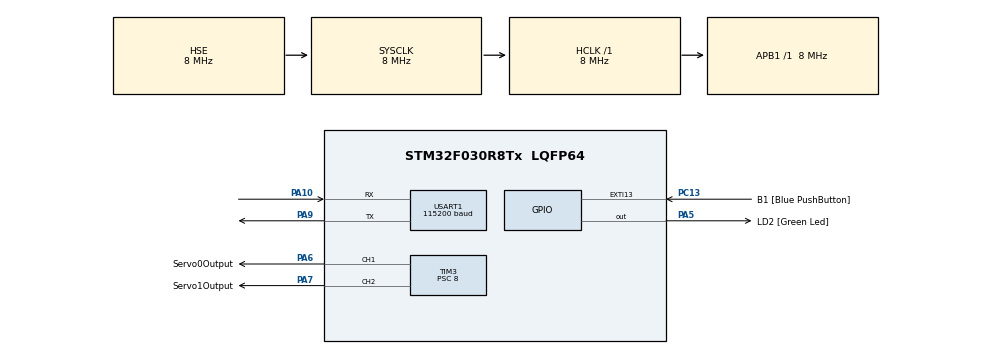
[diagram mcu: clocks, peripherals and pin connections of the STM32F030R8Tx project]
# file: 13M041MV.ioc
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Mcu.Family=STM32F0
Mcu.Name=STM32F030R8Tx
Mcu.Package=LQFP64
NVIC.USART1_IRQn=true\:0\:0\:false\:false\:true\:true\:true
PA10.Mode=Asynchronous
PA10.Signal=USART1_RX
PA13.GPIO_Label=TMS
PA13.Signal=SYS_SWDIO
PA14.GPIO_Label=TCK
PA14.Signal=SYS_SWCLK
PA2.GPIO_Label=USART_TX
PA2.GPIO_Mode=GPIO_MODE_AF_PP
PA2.GPIO_PuPd=GPIO_NOPULL
PA2.GPIO_Speed=GPIO_SPEED_FREQ_LOW
PA2.Signal=USART2_TX
PA3.GPIO_Label=USART_RX
PA3.GPIO_Mode=GPIO_MODE_AF_PP
PA3.GPIO_PuPd=GPIO_NOPULL
PA3.GPIO_Speed=GPIO_SPEED_FREQ_LOW
PA3.Signal=USART2_RX
PA5.GPIO_Label=LD2 [Green Led]
PA5.GPIO_Mode=GPIO_MODE_OUTPUT_PP
PA5.GPIO_PuPd=GPIO_NOPULL
PA5.GPIO_Speed=GPIO_SPEED_FREQ_LOW
PA5.Signal=GPIO_Output
PA6.GPIO_Label=Servo0Output
PA6.GPIO_Speed=GPIO_SPEED_FREQ_HIGH
PA6.Signal=S_TIM3_CH1
PA7.GPIO_Label=Servo1Output
PA7.GPIO_Speed=GPIO_SPEED_FREQ_HIGH
PA7.Signal=S_TIM3_CH2
PA9.Mode=Asynchronous
PA9.Signal=USART1_TX
PB9.GPIO_FM9=__NULL
PB9.GPIO_Label=Servo1Output
PB9.GPIO_Speed=GPIO_SPEED_FREQ_HIGH
PB9.Signal=S_TIM17_CH1
PC13.GPIO_Label=B1 [Blue PushButton]
PC13.GPIO_ModeDefaultEXTI=GPIO_MODE_IT_FALLING
PC13.Signal=GPXTI13
PC14-OSC32_IN.Signal=RCC_OSC32_IN
PC15-OSC32_OUT.Signal=RCC_OSC32_OUT
PF0-OSC_IN.Mode=HSE-External-Oscillator
PF0-OSC_IN.Signal=RCC_OSC_IN
PF1-OSC_OUT.Mode=HSE-External-Oscillator
PF1-OSC_OUT.Signal=RCC_OSC_OUT
ProjectManager.HeapSize=0x200
ProjectManager.StackSize=0x400
ProjectManager.TargetToolchain=MDK-ARM V5
RCC.AHBFreq_Value=8000000
RCC.APB1Freq_Value=8000000
RCC.APB1TimFreq_Value=8000000
RCC.HCLKFreq_Value=8000000
RCC.PLLSourceVirtual=RCC_PLLSOURCE_HSE
RCC.SYSCLKFreq_VALUE=8000000
RCC.SYSCLKSource=RCC_SYSCLKSOURCE_HSE
RCC.Usart1ClockSelection=RCC_USART1CLKSOURCE_HSI
SH.S_TIM17_CH1.0=TIM17_CH1
SH.S_TIM3_CH1.0=TIM3_CH1,PWM Generation1 CH1
SH.S_TIM3_CH2.0=TIM3_CH2,PWM Generation2 CH2
TIM3.Channel-PWM\ Generation1\ CH1=TIM_CHANNEL_1
TIM3.Channel-PWM\ Generation2\ CH2=TIM_CHANNEL_2
TIM3.OCFastMode_PWM-PWM\ Generation1\ CH1=TIM_OCFAST_DISABLE
TIM3.OCFastMode_PWM-PWM\ Generation2\ CH2=TIM_OCFAST_DISABLE
TIM3.OCMode_PWM-PWM\ Generation1\ CH1=TIM_OCMODE_PWM1
TIM3.OCMode_PWM-PWM\ Generation2\ CH2=TIM_OCMODE_PWM1
TIM3.OCPolarity_1=TIM_OCPOLARITY_HIGH
TIM3.OCPolarity_2=TIM_OCPOLARITY_HIGH
TIM3.Period=4000
TIM3.Prescaler=8
TIM3.Pulse-PWM\ Generation1\ CH1=1320
TIM3.Pulse-PWM\ Generation2\ CH2=1420
TIM3.TIM_MasterOutputTrigger=TIM_TRGO_RESET
USART1.BaudRate=115200
USART1.VirtualMode-Asynchronous=VM_ASYNC
VP_TIM3_VS_ClockSourceINT.Mode=Internal
board=NUCLEO-F030R8

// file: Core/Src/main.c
/* USER CODE BEGIN Header */
/**
  ******************************************************************************
  * @file           : main.c
  * @brief          : Main program body
  ******************************************************************************
  * @attention
  *
  * <h2><center>&copy; Copyright (c) 2020 STMicroelectronics.
  * All rights reserved.</center></h2>
  *
  * This software component is licensed by ST under BSD 3-Clause license,
  * the "License"; You may not use this file except in compliance with the
  * License. You may obtain a copy of the License at:
  *                        opensource.org/licenses/BSD-3-Clause
  *
  ******************************************************************************
  */
/* USER CODE END Header */

#include "main.h"

/* USER CODE BEGIN Includes */
#include <string.h>
#include <stdlib.h>
#include <stdbool.h>
/* USER CODE END Includes */

/* USER CODE BEGIN PD */
void pc_uart_rx(uint8_t rx_count);
/* USER CODE END PD */

TIM_HandleTypeDef htim3;

UART_HandleTypeDef huart1;

/* USER CODE BEGIN PV */
char rx_buffer[32];
volatile uint8_t last_read = 0;
volatile uint8_t next_free = 0;
volatile bool command_ready = false;
/* USER CODE END PV */

void SystemClock_Config(void);
static void MX_GPIO_Init(void);
static void MX_TIM3_Init(void);
static void MX_USART1_UART_Init(void);

/* USER CODE BEGIN 0 */

void HAL_UART_RxCpltCallback(UART_HandleTypeDef *huart)
{
	if (next_free<32)
	{
		rx_buffer[next_free++] = huart->Instance->RDR;
		if(rx_buffer[next_free-1] == '}')
		{
			command_ready = true;
			return;
		}
		if(rx_buffer[next_free-1] == '{')
		{
			rx_buffer[0] = '{';
			next_free = 1;
			last_read = 0;
		}
	}
	pc_uart_rx(1);
}

void pc_uart_rx(uint8_t rx_count)
{
	HAL_UART_Receive_IT(&huart1, &rx_buffer[next_free], rx_count);
}

bool process_rx_data(uint16_t* pulse_x, uint16_t* pulse_y)
{
	bool retval = false;

	if(rx_buffer[next_free-1] != '}' ||
			rx_buffer[last_read] != '{')
	{
		return retval;
	}

	int x,y;

	if (sscanf(&rx_buffer[last_read], "{%d,%d}", &x, &y) == 2)
	{
		*pulse_x = (uint16_t) x;
		*pulse_y = (uint16_t) y;
		retval = true;
	}

	last_read = 0;
	next_free = 0;
	rx_buffer[0] = 0;
	command_ready = false;

	pc_uart_rx(1);

	return retval;

}
/* USER CODE END 0 */

int main(void)
{
  /* USER CODE BEGIN 1 */
	uint16_t pulse_width_x = 1320,  pulse_width_y = 1420;
  /* USER CODE END 1 */

  /* MCU Configuration--------------------------------------------------------*/

  /* Reset of all peripherals, Initializes the Flash interface and the Systick. */
  HAL_Init();

  /* Configure the system clock */
  SystemClock_Config();

  /* Initialize all configured peripherals */
  MX_GPIO_Init();
  MX_TIM3_Init();
  MX_USART1_UART_Init();
  /* USER CODE BEGIN 2 */
	pc_uart_rx(1);
	HAL_TIM_PWM_Start(&htim3, TIM_CHANNEL_1);
	HAL_TIM_PWM_Start(&htim3, TIM_CHANNEL_2);
  /* USER CODE END 2 */

  /* Infinite loop */
  /* USER CODE BEGIN WHILE */
  while (1)
  {
		if (command_ready == true)
		{
			if (process_rx_data(&pulse_width_x, &pulse_width_y) == true)
			{
				htim3.Instance->CCR1 = pulse_width_x;
				htim3.Instance->CCR2 = pulse_width_y;
			}
		}
    /* USER CODE END WHILE */

  }
}

void SystemClock_Config(void)
{
  RCC_OscInitTypeDef RCC_OscInitStruct = {0};
  RCC_ClkInitTypeDef RCC_ClkInitStruct = {0};
  RCC_PeriphCLKInitTypeDef PeriphClkInit = {0};

  /** Initializes the CPU, AHB and APB busses clocks
  */
  RCC_OscInitStruct.OscillatorType = RCC_OSCILLATORTYPE_HSI|RCC_OSCILLATORTYPE_HSE;
  RCC_OscInitStruct.HSEState = RCC_HSE_ON;
  RCC_OscInitStruct.HSIState = RCC_HSI_ON;
  RCC_OscInitStruct.HSICalibrationValue = RCC_HSICALIBRATION_DEFAULT;
  RCC_OscInitStruct.PLL.PLLState = RCC_PLL_NONE;
  if (HAL_RCC_OscConfig(&RCC_OscInitStruct) != HAL_OK)
  {
    Error_Handler();
  }
  /** Initializes the CPU, AHB and APB busses clocks
  */
  RCC_ClkInitStruct.ClockType = RCC_CLOCKTYPE_HCLK|RCC_CLOCKTYPE_SYSCLK
                              |RCC_CLOCKTYPE_PCLK1;
  RCC_ClkInitStruct.SYSCLKSource = RCC_SYSCLKSOURCE_HSE;
  RCC_ClkInitStruct.AHBCLKDivider = RCC_SYSCLK_DIV1;
  RCC_ClkInitStruct.APB1CLKDivider = RCC_HCLK_DIV1;

  if (HAL_RCC_ClockConfig(&RCC_ClkInitStruct, FLASH_LATENCY_0) != HAL_OK)
  {
    Error_Handler();
  }
  PeriphClkInit.PeriphClockSelection = RCC_PERIPHCLK_USART1;
  PeriphClkInit.Usart1ClockSelection = RCC_USART1CLKSOURCE_HSI;
  if (HAL_RCCEx_PeriphCLKConfig(&PeriphClkInit) != HAL_OK)
  {
    Error_Handler();
  }
}

static void MX_TIM3_Init(void)
{

  TIM_ClockConfigTypeDef sClockSourceConfig = {0};
  TIM_MasterConfigTypeDef sMasterConfig = {0};
  TIM_OC_InitTypeDef sConfigOC = {0};

  htim3.Instance = TIM3;
  htim3.Init.Prescaler = 8;
  htim3.Init.CounterMode = TIM_COUNTERMODE_UP;
  htim3.Init.Period = 4000;
  htim3.Init.ClockDivision = TIM_CLOCKDIVISION_DIV1;
  htim3.Init.AutoReloadPreload = TIM_AUTORELOAD_PRELOAD_DISABLE;
  if (HAL_TIM_Base_Init(&htim3) != HAL_OK)
  {
    Error_Handler();
  }
  sClockSourceConfig.ClockSource = TIM_CLOCKSOURCE_INTERNAL;
  if (HAL_TIM_ConfigClockSource(&htim3, &sClockSourceConfig) != HAL_OK)
  {
    Error_Handler();
  }
  if (HAL_TIM_PWM_Init(&htim3) != HAL_OK)
  {
    Error_Handler();
  }
  sMasterConfig.MasterOutputTrigger = TIM_TRGO_RESET;
  sMasterConfig.MasterSlaveMode = TIM_MASTERSLAVEMODE_DISABLE;
  if (HAL_TIMEx_MasterConfigSynchronization(&htim3, &sMasterConfig) != HAL_OK)
  {
    Error_Handler();
  }
  sConfigOC.OCMode = TIM_OCMODE_PWM1;
  sConfigOC.Pulse = 1320;
  sConfigOC.OCPolarity = TIM_OCPOLARITY_HIGH;
  sConfigOC.OCFastMode = TIM_OCFAST_DISABLE;
  if (HAL_TIM_PWM_ConfigChannel(&htim3, &sConfigOC, TIM_CHANNEL_1) != HAL_OK)
  {
    Error_Handler();
  }
  sConfigOC.Pulse = 1420;
  if (HAL_TIM_PWM_ConfigChannel(&htim3, &sConfigOC, TIM_CHANNEL_2) != HAL_OK)
  {
    Error_Handler();
  }
  HAL_TIM_MspPostInit(&htim3);

}

static void MX_USART1_UART_Init(void)
{

  huart1.Instance = USART1;
  huart1.Init.BaudRate = 115200;
  huart1.Init.WordLength = UART_WORDLENGTH_8B;
  huart1.Init.StopBits = UART_STOPBITS_1;
  huart1.Init.Parity = UART_PARITY_NONE;
  huart1.Init.Mode = UART_MODE_TX_RX;
  huart1.Init.HwFlowCtl = UART_HWCONTROL_NONE;
  huart1.Init.OverSampling = UART_OVERSAMPLING_16;
  huart1.Init.OneBitSampling = UART_ONE_BIT_SAMPLE_DISABLE;
  huart1.AdvancedInit.AdvFeatureInit = UART_ADVFEATURE_NO_INIT;
  if (HAL_UART_Init(&huart1) != HAL_OK)
  {
    Error_Handler();
  }

}

static void MX_GPIO_Init(void)
{
  GPIO_InitTypeDef GPIO_InitStruct = {0};

  /* GPIO Ports Clock Enable */
  __HAL_RCC_GPIOC_CLK_ENABLE();
  __HAL_RCC_GPIOF_CLK_ENABLE();
  __HAL_RCC_GPIOA_CLK_ENABLE();
  __HAL_RCC_GPIOB_CLK_ENABLE();

  /*Configure GPIO pin Output Level */
  HAL_GPIO_WritePin(LD2_GPIO_Port, LD2_Pin, GPIO_PIN_RESET);

  /*Configure GPIO pin : B1_Pin */
  GPIO_InitStruct.Pin = B1_Pin;
  GPIO_InitStruct.Mode = GPIO_MODE_IT_FALLING;
  GPIO_InitStruct.Pull = GPIO_NOPULL;
  HAL_GPIO_Init(B1_GPIO_Port, &GPIO_InitStruct);

  /*Configure GPIO pins : USART_TX_Pin USART_RX_Pin */
  GPIO_InitStruct.Pin = USART_TX_Pin|USART_RX_Pin;
  GPIO_InitStruct.Mode = GPIO_MODE_AF_PP;
  GPIO_InitStruct.Pull = GPIO_NOPULL;
  GPIO_InitStruct.Speed = GPIO_SPEED_FREQ_LOW;
  GPIO_InitStruct.Alternate = GPIO_AF1_USART2;
  HAL_GPIO_Init(GPIOA, &GPIO_InitStruct);

  /*Configure GPIO pin : LD2_Pin */
  GPIO_InitStruct.Pin = LD2_Pin;
  GPIO_InitStruct.Mode = GPIO_MODE_OUTPUT_PP;
  GPIO_InitStruct.Pull = GPIO_NOPULL;
  GPIO_InitStruct.Speed = GPIO_SPEED_FREQ_LOW;
  HAL_GPIO_Init(LD2_GPIO_Port, &GPIO_InitStruct);

  /*Configure GPIO pin : Servo1OutputB9_Pin */
  GPIO_InitStruct.Pin = Servo1OutputB9_Pin;
  GPIO_InitStruct.Mode = GPIO_MODE_AF_PP;
  GPIO_InitStruct.Pull = GPIO_NOPULL;
  GPIO_InitStruct.Speed = GPIO_SPEED_FREQ_HIGH;
  GPIO_InitStruct.Alternate = GPIO_AF2_TIM17;
  HAL_GPIO_Init(Servo1OutputB9_GPIO_Port, &GPIO_InitStruct);

}

void Error_Handler(void)
{
}

/************************ (C) COPYRIGHT STMicroelectronics *****END OF FILE****/
